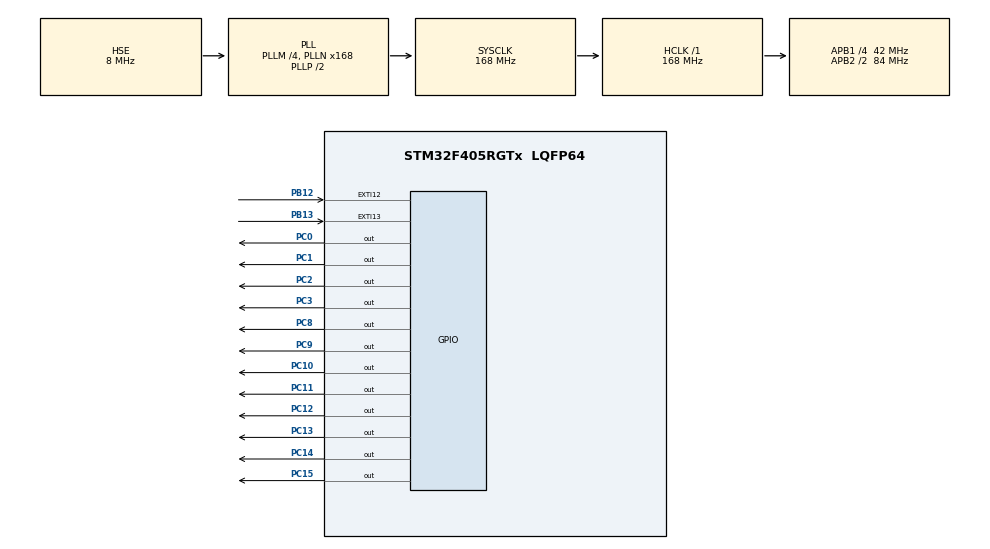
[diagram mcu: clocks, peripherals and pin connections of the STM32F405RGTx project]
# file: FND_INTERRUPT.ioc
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Mcu.Family=STM32F4
Mcu.Name=STM32F405RGTx
Mcu.Package=LQFP64
NVIC.EXTI15_10_IRQn=true\:0\:0\:false\:false\:true\:true\:true
NVIC.PriorityGroup=NVIC_PRIORITYGROUP_4
PA13.Mode=Serial_Wire
PA13.Signal=SYS_JTMS-SWDIO
PA14.Mode=Serial_Wire
PA14.Signal=SYS_JTCK-SWCLK
PB12.Signal=GPXTI12
PB13.Signal=GPXTI13
PC0.Signal=GPIO_Output
PC1.Signal=GPIO_Output
PC10.Signal=GPIO_Output
PC11.Signal=GPIO_Output
PC12.Signal=GPIO_Output
PC13-ANTI_TAMP.Signal=GPIO_Output
PC14-OSC32_IN.Signal=GPIO_Output
PC15-OSC32_OUT.Signal=GPIO_Output
PC2.Signal=GPIO_Output
PC3.Signal=GPIO_Output
PC8.Signal=GPIO_Output
PC9.Signal=GPIO_Output
PH0-OSC_IN.Mode=HSE-External-Oscillator
PH0-OSC_IN.Signal=RCC_OSC_IN
PH1-OSC_OUT.Mode=HSE-External-Oscillator
PH1-OSC_OUT.Signal=RCC_OSC_OUT
ProjectManager.HeapSize=0x200
ProjectManager.StackSize=0x400
ProjectManager.TargetToolchain=EWARM V8.32
RCC.48MHZClocksFreq_Value=84000000
RCC.AHBFreq_Value=168000000
RCC.APB1CLKDivider=RCC_HCLK_DIV4
RCC.APB1Freq_Value=42000000
RCC.APB1TimFreq_Value=84000000
RCC.APB2CLKDivider=RCC_HCLK_DIV2
RCC.APB2Freq_Value=84000000
RCC.APB2TimFreq_Value=168000000
RCC.CortexFreq_Value=168000000
RCC.HCLKFreq_Value=168000000
RCC.HSE_VALUE=8000000
RCC.HSI_VALUE=16000000
RCC.LSE_VALUE=32768
RCC.PLLM=4
RCC.PLLN=168
RCC.PLLSourceVirtual=RCC_PLLSOURCE_HSE
RCC.SYSCLKFreq_VALUE=168000000
RCC.SYSCLKSource=RCC_SYSCLKSOURCE_PLLCLK
RCC.VCOOutputFreq_Value=336000000
board=custom

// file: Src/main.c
/* USER CODE BEGIN Header */
/**
******************************************************************************
* @file           : main.c
* @brief          : Main program body
******************************************************************************
* @attention
*
* <h2><center>&copy; Copyright (c) 2020 STMicroelectronics.
* All rights reserved.</center></h2>
*
* This software component is licensed by ST under BSD 3-Clause license,
* the "License"; You may not use this file except in compliance with the
* License. You may obtain a copy of the License at:
*                        opensource.org/licenses/BSD-3-Clause
*
******************************************************************************
*/
/* USER CODE END Header */

#include "main.h"
#include "gpio.h"

void SystemClock_Config(void);

/* USER CODE BEGIN 0 */
unsigned int FND_DATA_TBL[]={0x3F00,0x0600,0x5B00,0x4F00,0x6600,0x6D00,0x7C00,0x0700,0x7F00,0x6700,0x7700,0x7C00,0x3900,0x5E00,0x7900,0x7100,0x0800,0x8000};
unsigned int led=GPIO_PIN_0;
int fnd_stop=0;
int led_stop=0;
int cnt=0;
void FND()
{
  if(fnd_stop==0 & led_stop==0)
  {

    HAL_GPIO_WritePin(GPIOC,FND_DATA_TBL[cnt]||led,GPIO_PIN_SET);
    HAL_Delay(100);
    HAL_GPIO_WritePin(GPIOC,FND_DATA_TBL[cnt]||led,GPIO_PIN_RESET);

    led<<=1;
    if(led>GPIO_PIN_3) led=GPIO_PIN_0;
    cnt++;
    if(cnt>9) cnt=0;

  }
  else if(fnd_stop==1 & led_stop==0)
  {

    HAL_GPIO_WritePin(GPIOC,FND_DATA_TBL[cnt]||led,GPIO_PIN_SET);
    HAL_Delay(100);
    HAL_GPIO_WritePin(GPIOC,FND_DATA_TBL[cnt]||led,GPIO_PIN_RESET);
    led<<=1;
    if(led>GPIO_PIN_3) led=GPIO_PIN_0;

  }
  else if(fnd_stop==0 & led_stop==1)
  {

    HAL_GPIO_WritePin(GPIOC,FND_DATA_TBL[cnt]||led,GPIO_PIN_SET);
    HAL_Delay(100);
    HAL_GPIO_WritePin(GPIOC,FND_DATA_TBL[cnt]||led,GPIO_PIN_RESET);
    cnt++;
    if(cnt>9) cnt=0;

  }
  else if(fnd_stop==0 & led_stop==0)
  {

    HAL_GPIO_WritePin(GPIOC,FND_DATA_TBL[cnt]||led,GPIO_PIN_SET);
    HAL_Delay(100);
    HAL_GPIO_WritePin(GPIOC,FND_DATA_TBL[cnt]||led,GPIO_PIN_RESET);

  }

}

void LED()
{
  if(led_stop==0)
  {
    HAL_GPIO_WritePin(GPIOC,led,GPIO_PIN_SET);
    HAL_Delay(100);
    HAL_GPIO_WritePin(GPIOC,led,GPIO_PIN_RESET);
    led<<=1;
    if(led>GPIO_PIN_3) led=GPIO_PIN_0;
  }
  else if(led_stop==1) HAL_GPIO_WritePin(GPIOC,led,GPIO_PIN_SET);

}
/* USER CODE END 0 */

int main(void)
{

  /* MCU Configuration--------------------------------------------------------*/

  /* Reset of all peripherals, Initializes the Flash interface and the Systick. */
  HAL_Init();

  /* Configure the system clock */
  SystemClock_Config();

  /* Initialize all configured peripherals */
  MX_GPIO_Init();

  /* Infinite loop */
  /* USER CODE BEGIN WHILE */

  while (1)
  {

    HAL_GPIO_WritePin(GPIOC,0xFF0F,GPIO_PIN_SET);

    /* USER CODE END WHILE */

  }
}

void SystemClock_Config(void)
{
  RCC_OscInitTypeDef RCC_OscInitStruct = {0};
  RCC_ClkInitTypeDef RCC_ClkInitStruct = {0};

  /** Configure the main internal regulator output voltage
  */
  __HAL_RCC_PWR_CLK_ENABLE();
  __HAL_PWR_VOLTAGESCALING_CONFIG(PWR_REGULATOR_VOLTAGE_SCALE1);
  /** Initializes the CPU, AHB and APB busses clocks
  */
  RCC_OscInitStruct.OscillatorType = RCC_OSCILLATORTYPE_HSE;
  RCC_OscInitStruct.HSEState = RCC_HSE_ON;
  RCC_OscInitStruct.PLL.PLLState = RCC_PLL_ON;
  RCC_OscInitStruct.PLL.PLLSource = RCC_PLLSOURCE_HSE;
  RCC_OscInitStruct.PLL.PLLM = 4;
  RCC_OscInitStruct.PLL.PLLN = 168;
  RCC_OscInitStruct.PLL.PLLP = RCC_PLLP_DIV2;
  RCC_OscInitStruct.PLL.PLLQ = 4;
  if (HAL_RCC_OscConfig(&RCC_OscInitStruct) != HAL_OK)
  {
    Error_Handler();
  }
  /** Initializes the CPU, AHB and APB busses clocks
  */
  RCC_ClkInitStruct.ClockType = RCC_CLOCKTYPE_HCLK|RCC_CLOCKTYPE_SYSCLK
    |RCC_CLOCKTYPE_PCLK1|RCC_CLOCKTYPE_PCLK2;
  RCC_ClkInitStruct.SYSCLKSource = RCC_SYSCLKSOURCE_PLLCLK;
  RCC_ClkInitStruct.AHBCLKDivider = RCC_SYSCLK_DIV1;
  RCC_ClkInitStruct.APB1CLKDivider = RCC_HCLK_DIV4;
  RCC_ClkInitStruct.APB2CLKDivider = RCC_HCLK_DIV2;

  if (HAL_RCC_ClockConfig(&RCC_ClkInitStruct, FLASH_LATENCY_5) != HAL_OK)
  {
    Error_Handler();
  }
}

/* USER CODE BEGIN 4 */
void HAL_GPIO_EXTI_Callback(uint16_t GPIO_Pin)
{

  if(GPIO_Pin==GPIO_PIN_12)
  {
    if(fnd_stop==0) fnd_stop=1;
    else if(fnd_stop==1) fnd_stop=0;
  }
  else if(GPIO_Pin==GPIO_PIN_13)
  {
    if(led_stop==0) led_stop=1;
    else if(led_stop==1) led_stop=0;
  }

}
/* USER CODE END 4 */

void Error_Handler(void)
{
}

/************************ (C) COPYRIGHT STMicroelectronics *****END OF FILE****/
